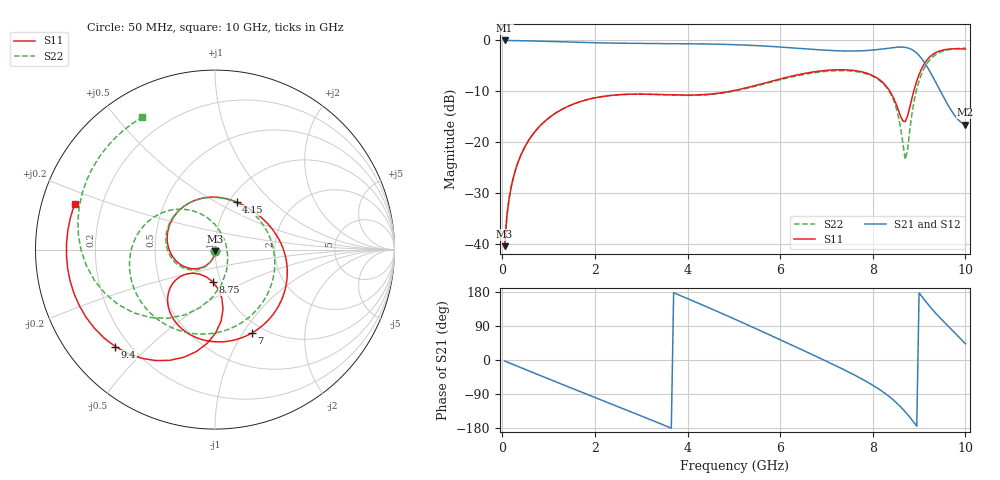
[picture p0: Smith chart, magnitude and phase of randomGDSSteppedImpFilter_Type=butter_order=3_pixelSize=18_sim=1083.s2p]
! freq	dB(S11)	phase(S11)	dB(S12)	phase(S12)
!  dB(S21)	phase(S21)	dB(S22)	phase(S22)
!S-par simulation data
#  GHz  S  DB  R 50
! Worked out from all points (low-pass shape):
!   200 points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, 50 MHz to 10 GHz, reference 50 ohm
!   highest |S21| = 0.00 dB at 50 MHz (marker M1); lowest = -16.6 dB at 10 GHz (marker M2)
!   |S21| within 3 dB of the highest: start of sweep to 9.004 GHz
!   lowest |S11| = -40.4 dB at 50 MHz (marker M3), VSWR 1.02, Z = 50 - j0.955 ohm
!   |S11| at or under -10 dB: start of sweep to 4.915 GHz; 8.37 GHz to 8.884 GHz (514.8 MHz wide, 5.97 % of centre)
!   |S22| runs from -40.4 to -1.5 dB; largest |S21 - S12| = 0
!   S11 on the Smith chart (normalised r, x): 50 MHz: 1.00, -0.02; 4.15 GHz: 1.08, +0.63; 7 GHz: 0.87, -1.10; 8.75 GHz: 0.92, -0.34; 9.4 GHz: 0.15, -0.40; 10 GHz: 0.10, +0.16
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0.05  -40.38 -92.3  -0.00 -2.6  -0.00 -2.6  -40.40 -92.1
0.2  -28.43 -100.5  -0.02 -10.1  -0.02 -10.1  -28.43 -99.7
0.5  -20.70 -116.6  -0.07 -25.1  -0.07 -25.1  -20.69 -114.8
1.15  -14.28 -150.0  -0.23 -57.3  -0.23 -57.3  -14.27 -146.1
1.75  -11.83 179.8  -0.40 -86.5  -0.40 -86.5  -11.83 -174.5
2.5  -10.68 142.8  -0.54 -122.8  -0.54 -122.8  -10.67 149.9
3.4  -10.62 99.5  -0.61 -167.3  -0.61 -167.3  -10.65 104.3
4.15  -10.72 65.6  -0.66 154.3  -0.66 154.3  -10.78 61.5
5.05  -9.76 27.3  -0.84 106.2  -0.84 106.2  -9.87 4.3
5.8  -8.04 -6.4  -1.17 64.7  -1.17 64.7  -8.19 -44.2
6.7  -6.21 -50.7  -1.75 13.9  -1.75 13.9  -6.40 -100.6
7  -5.88 -66.2  -1.93 -3.3  -1.93 -3.3  -6.06 -119.4
7.75  -6.14 -106.5  -2.04 -49.1  -2.04 -49.1  -6.30 -169.8
8.35  -9.71 -139.7  -1.50 -96.0  -1.50 -96.0  -9.93 135.4
8.55  -13.59 -139.5  -1.31 -117.3  -1.31 -117.3  -14.78 103.3
8.7  -15.94 -107.5  -1.36 -136.5  -1.36 -136.5  -23.37 25.3
8.75  -14.86 -93.7  -1.46 -143.6  -1.46 -143.6  -21.65 -29.8
8.9  -9.46 -82.4  -2.12 -166.6  -2.12 -166.6  -11.54 -92.9
9.05  -5.65 -94.6  -3.51 169.2  -3.51 169.2  -6.67 -124.4
9.4  -2.22 -135.8  -8.92 118.0  -8.92 118.0  -2.56 -179.4
9.7  -1.66 -167.6  -13.82 80.5  -13.82 80.5  -1.73 146.6
10  -1.70 162.1  -16.57 42.9  -16.57 42.9  -1.49 118.9
